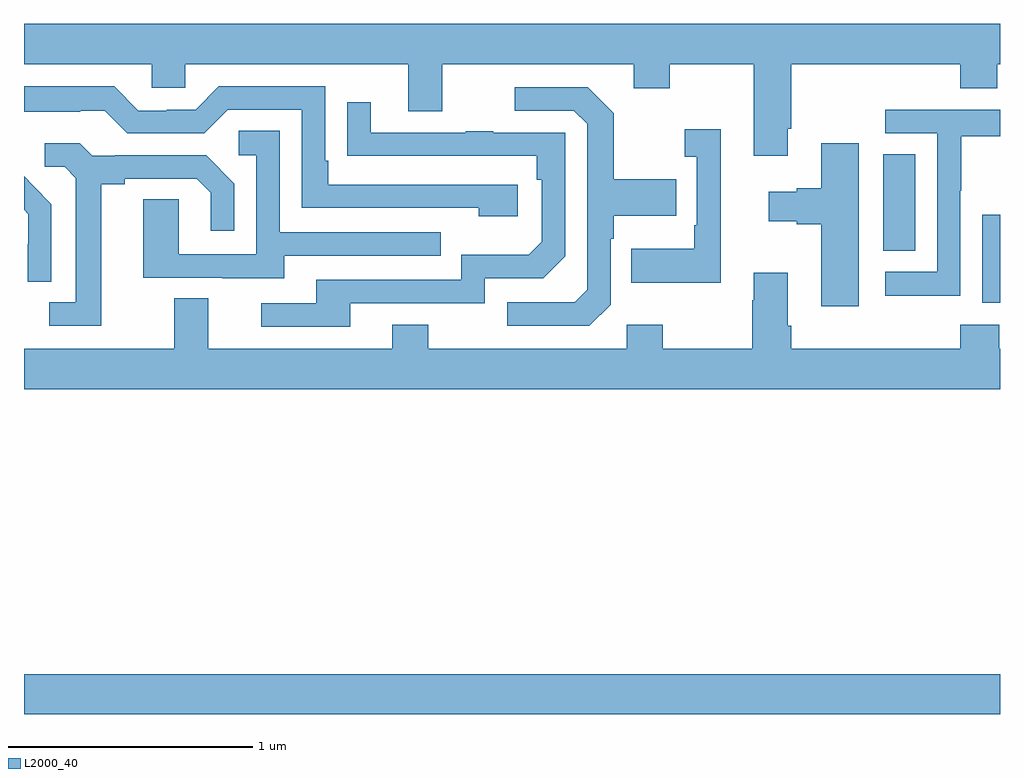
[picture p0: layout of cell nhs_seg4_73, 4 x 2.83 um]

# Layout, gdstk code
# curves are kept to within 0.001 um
import gdstk
lib = gdstk.Library(unit=1e-6, precision=1e-09)
def R(c, l, rs):  # rectangles x0, y0, x1, y1
    for r in rs: c.add(gdstk.rectangle(r[:2], r[2:], *l))
def P(c, l, *ps):  # polygons
    for p in ps: c.add(gdstk.Polygon(p, *l))
L2000_40 = (2000, 40)

nhs_seg4_73 = lib.new_cell('nhs_seg4_73')
R(nhs_seg4_73, L2000_40, [(113,815.468,117,815.632), (116.927,817.154,117,817.515), (116.522,817.366,116.653,817.763)])
P(nhs_seg4_73, L2000_40, [(116.131,817.867),(116.144,817.867),(116.144,818.132),(116.837,818.132),(116.837,818.033),(116.989,818.033),(116.989,818.132),(117,818.132),(117,818.296),(113,818.296),(113,818.132),(113.523,818.132),(113.523,818.034),(113.661,818.034),(113.661,818.132),(114.575,818.132),(114.575,817.938),(114.715,817.938),(114.715,818.132),(115.499,818.132),(115.499,818.033),(115.647,818.033),(115.647,818.132),(115.991,818.132),(115.991,817.755),(116.131,817.755)],
  [(115.024,817.638),(114.247,817.638),(114.247,817.735),(114.234,817.735),(114.234,818.04),(113.799,818.04),(113.703,817.944),(113.585,817.944),(113.585,817.941),(113.469,817.941),(113.369,818.041),(113,818.041),(113,817.937),(113.231,817.937),(113.231,817.941),(113.331,817.941),(113.424,817.848),(113.739,817.848),(113.835,817.944),(114.138,817.944),(114.138,817.542),(114.863,817.542),(114.863,817.508),(115.024,817.508)],
  [(115.404,817.146),(115.404,817.415),(115.417,817.415),(115.417,817.511),(115.673,817.511),(115.673,817.659),(115.417,817.659),(115.417,817.931),(115.311,818.037),(115.011,818.037),(115.011,817.941),(115.254,817.941),(115.308,817.887),(115.308,817.206),(115.257,817.155),(114.981,817.155),(114.981,817.059),(115.317,817.059)],
  [(114.337,817.152),(114.888,817.152),(114.888,817.254),(115.128,817.254),(115.218,817.344),(115.218,817.851),(114.923,817.851),(114.923,817.856),(114.811,817.856),(114.811,817.851),(114.421,817.851),(114.421,817.975),(114.325,817.975),(114.325,817.756),(115.102,817.755),(115.102,817.658),(115.122,817.658),(115.122,817.404),(115.069,817.351),(114.792,817.351),(114.792,817.248),(114.197,817.248),(114.197,817.152),(113.973,817.152),(113.973,817.056),(114.337,817.056)],
  [(116.838,817.612),(116.841,817.612),(116.841,817.836),(117,817.836),(117,817.944),(116.529,817.944),(116.529,817.848),(116.742,817.848),(116.742,817.281),(116.529,817.281),(116.529,817.183),(116.838,817.183)],
  [(115.856,817.864),(115.707,817.864),(115.707,817.751),(115.758,817.751),(115.758,817.471),(115.746,817.471),(115.746,817.375),(115.489,817.375),(115.489,817.235),(115.856,817.235)],
  [(114.067,817.347),(114.707,817.347),(114.707,817.443),(114.048,817.443),(114.048,817.859),(113.88,817.859),(113.88,817.758),(113.952,817.758),(113.952,817.353),(113.634,817.353),(113.634,817.577),(113.489,817.577),(113.489,817.257),(113.813,817.257),(113.813,817.253),(114.067,817.253)],
  [(113.317,817.64),(113.413,817.64),(113.413,817.662),(113.708,817.662),(113.765,817.605),(113.765,817.449),(113.862,817.449),(113.862,817.642),(113.746,817.758),(113.374,817.758),(113.374,817.755),(113.28,817.755),(113.228,817.807),(113.085,817.807),(113.085,817.71),(113.166,817.71),(113.213,817.663),(113.213,817.155),(113.103,817.155),(113.103,817.059),(113.317,817.059)],
  [(116.422,817.807),(116.267,817.807),(116.267,817.622),(116.168,817.622),(116.168,817.609),(116.052,817.609),(116.052,817.487),(116.168,817.487),(116.168,817.475),(116.267,817.475),(116.267,817.14),(116.422,817.14)],
  [(113.112,817.558),(113.039,817.631),(113.04,817.632),(113,817.672),(113,817.535),(113.018,817.517),(113.018,817.394),(113.016,817.394),(113.016,817.24),(113.112,817.24)],
  [(117,816.964),(116.997,816.964),(116.997,817.063),(116.837,817.063),(116.837,816.964),(116.144,816.964),(116.144,817.06),(116.131,817.06),(116.131,817.276),(115.991,817.276),(115.991,817.163),(115.984,817.163),(115.984,816.964),(115.617,816.964),(115.617,817.063),(115.47,817.063),(115.47,816.964),(114.657,816.964),(114.657,817.063),(114.509,817.063),(114.509,816.964),(113.755,816.964),(113.755,817.172),(113.615,817.172),(113.615,816.964),(113,816.964),(113,816.8),(117,816.8)])

lib.write_gds('nhs_seg4_73.gds')
